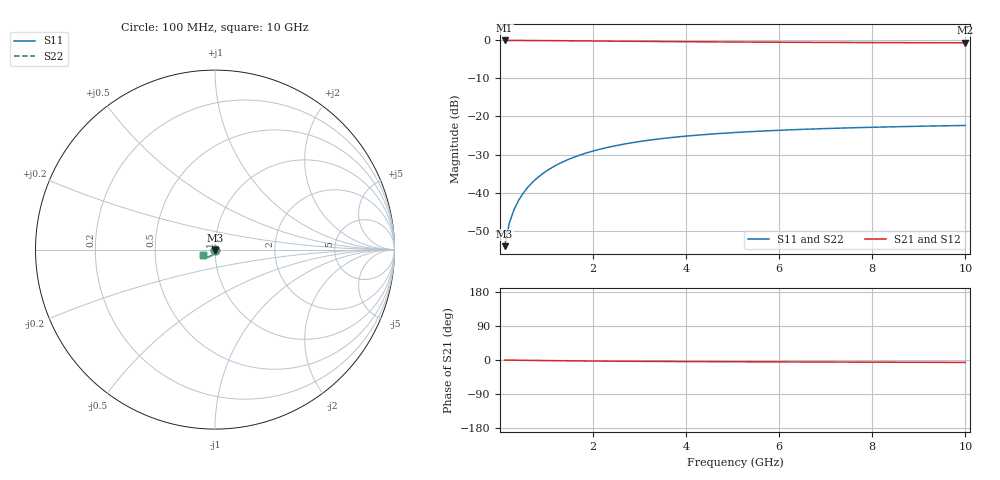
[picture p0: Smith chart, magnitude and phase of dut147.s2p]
! Touchstone file exported from HFSS 2024.1.0
!  File:  C:/UserFiles/LocalFiles/RDL_TSV_Batchsim/temp_TSV1_147_1779381071.aedt
!  Generated:  12:36:54 AM May 22, 2026
!  Design:  TSV1
!  Project:  temp_TSV1_147_1779381071
!  Setup:  Setup1
!  Solution:  Sweep
! Variables:
!  dtsv = 12.35um
!  hbump = 3um
!  htsv = 99.7um
!  lrdl = 252.1521522um
!  p = 40
!  p1 = 41.51um
!  t = 500um
!  trdl = 3um
!  wrdl = 24.89489489um
# GHz S MA R 50.000000
! Terminal data exported
! Port[1] = TSV22_T1
! Port[2] = TSV22_T2
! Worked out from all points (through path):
!   100 points, 100 MHz to 10 GHz, reference 50 ohm
!   highest |S21| = 0.00 dB at 100 MHz (marker M1); lowest = -0.6 dB at 10 GHz (marker M2)
!   lowest |S11| = -54.1 dB at 100 MHz (marker M3), VSWR 1.00, Z = 50 - j0.197 ohm
!   |S11| at or under -10 dB: start of sweep to end of sweep
!   |S22| runs from -54.1 to -22.4 dB; largest |S21 - S12| = 3.3e-15
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0.1  0.001972 -88.1  0.9998 -0.2  0.9998 -0.2  0.001972 -88.1
! Gamma 0 0 0 0
! Port Impedance 50 0 50 0
0.2  0.003941 -91.1  0.9997 -0.3  0.9997 -0.3  0.003941 -91.1
0.3  0.00591 -93.0  0.9994 -0.5  0.9994 -0.5  0.00591 -93.0
0.4  0.007874 -94.7  0.999 -0.6  0.999 -0.6  0.007874 -94.7
0.5  0.009825 -96.3  0.9986 -0.8  0.9986 -0.8  0.009825 -96.3
0.6  0.01176 -97.9  0.998 -0.9  0.998 -0.9  0.01176 -97.9
0.7  0.01367 -99.4  0.9974 -1.1  0.9974 -1.1  0.01367 -99.4
0.8  0.01555 -100.9  0.9967 -1.2  0.9967 -1.2  0.01555 -100.9
0.9  0.0174 -102.4  0.9959 -1.4  0.9959 -1.4  0.0174 -102.4
1.1  0.02099 -105.2  0.9942 -1.7  0.9942 -1.7  0.02099 -105.2
1.4  0.02609 -109.2  0.9912 -2.0  0.9912 -2.0  0.02609 -109.2
1.6  0.02928 -111.7  0.989 -2.3  0.989 -2.3  0.02928 -111.7
1.8  0.03229 -114.2  0.9868 -2.5  0.9868 -2.5  0.03229 -114.2
2.1  0.03648 -117.6  0.9832 -2.8  0.9832 -2.8  0.03648 -117.6
2.5  0.04148 -121.7  0.9785 -3.2  0.9785 -3.2  0.04148 -121.7
2.9  0.04584 -125.4  0.9738 -3.5  0.9738 -3.5  0.04584 -125.4
3.4  0.05053 -129.5  0.9684 -3.8  0.9684 -3.8  0.05053 -129.5
4.2  0.05659 -135.1  0.9607 -4.2  0.9607 -4.2  0.05659 -135.1
5.1  0.06182 -140.0  0.9535 -4.6  0.9535 -4.6  0.06182 -140.0
6.7  0.06842 -146.7  0.9438 -5.2  0.9438 -5.2  0.06842 -146.7
8.4  0.07312 -151.9  0.9365 -5.8  0.9365 -5.8  0.07312 -151.9
10  0.07622 -155.7  0.9315 -6.4  0.9315 -6.4  0.07622 -155.7
